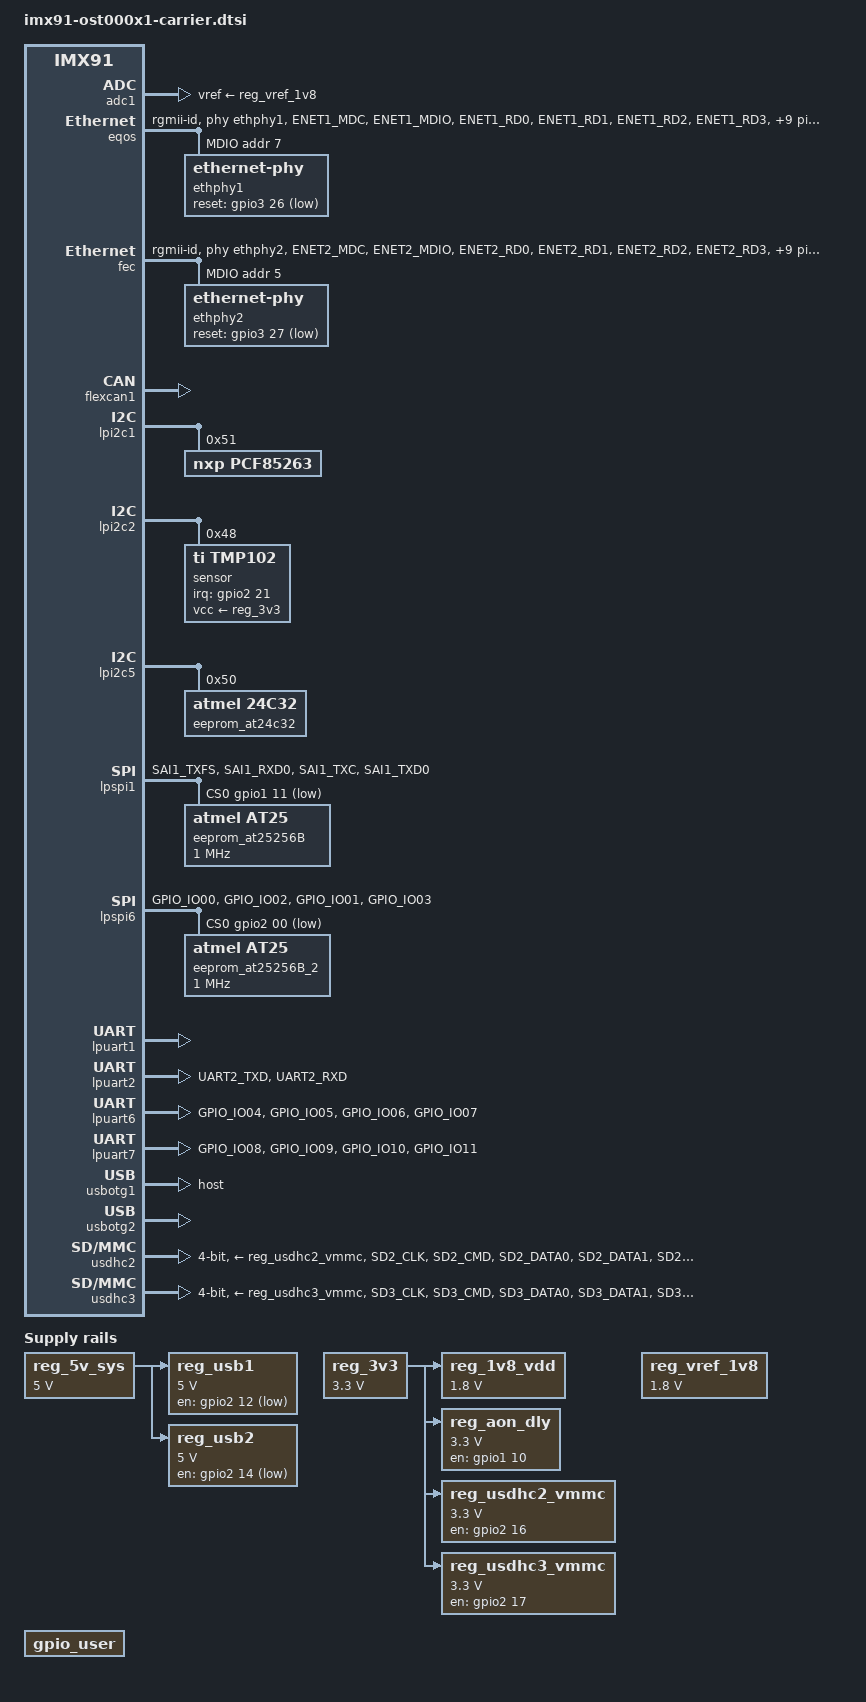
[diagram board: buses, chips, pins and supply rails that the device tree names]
/*
 * Copyright 2026 MASELETTRONICA
 */


#include <dt-bindings/leds/common.h>

/ {

	aliases {
		rtc0 = &bbnsm_rtc;
		rtc1 = &pcf85263;
	};

	// REGULATORS
	reg_5v_sys: regulator-5V-sys {
		// U3 system voltage 5V TPS54361 @3.5A
		compatible = "regulator-fixed";
		regulator-name = "VSYS_5V";
		regulator-min-microvolt = <5000000>;
		regulator-max-microvolt = <5000000>;
	};

	reg_3v3: regulator-3V3 {
		// U7 regulator for 3V3 TPS54361 @3.5A
		compatible = "regulator-fixed";
		regulator-name = "REG_3V3";
		regulator-min-microvolt = <3300000>;
		regulator-max-microvolt = <3300000>;

	};

	reg_1v8_vdd: regulator-1V8 {
		// U1 regulator for 1V8 AP7361E @1A
		compatible = "regulator-fixed";
		regulator-name = "REG_1V8";
		regulator-min-microvolt = <1800000>;
		regulator-max-microvolt = <1800000>;
		vin-supply = <&reg_3v3>;
	};

	reg_vref_1v8: regulator-adc-vref {
		compatible = "regulator-fixed";
		regulator-name = "vref_1v8";
		regulator-min-microvolt = <1800000>;
		regulator-max-microvolt = <1800000>;
	};

	reg_aon_dly: regulator-aon-dly {
		// U6 regulator for 1V8 or 3V3 dependig on mountig
		compatible = "regulator-fixed";
		pinctrl-names = "default";
		pinctrl-0 = <&pinctrl_reg_aon_dly>;
		regulator-name = "REG_AON_DLY";
		regulator-min-microvolt = <3300000>;
		regulator-max-microvolt = <3300000>;
		vin-supply = <&reg_3v3>;
		gpio = <&gpio1 10 GPIO_ACTIVE_HIGH>;
		off-on-delay-us = <12000>;
		enable-active-high;		
	};

	reg_usdhc2_vmmc: regulator-usdhc2  {
		// uSD2 pwr-enable
		compatible = "regulator-fixed";
		pinctrl-names = "default";
		pinctrl-0 = <&pinctrl_reg_usdhc2_vmmc>;
		regulator-name = "VSD2_3V3";
		regulator-min-microvolt = <3300000>;
		regulator-max-microvolt = <3300000>;
		vin-supply = <&reg_3v3>;
		gpio = <&gpio2 16 GPIO_ACTIVE_HIGH>;
		off-on-delay-us = <12000>;
		enable-active-high;		
	};

	reg_usdhc3_vmmc: regulator-usdhc3  {
		// uSD3 pwr-enable
		compatible = "regulator-fixed";
		pinctrl-names = "default";
		pinctrl-0 = <&pinctrl_reg_usdhc3_vmmc>;
		regulator-name = "VSD3_3V3";
		regulator-min-microvolt = <3300000>;
		regulator-max-microvolt = <3300000>;
		vin-supply = <&reg_3v3>;
		gpio = <&gpio2 17 GPIO_ACTIVE_HIGH>;
		off-on-delay-us = <12000>;
		enable-active-high;
		regulator-always-on;
	};

	reg_usb1: regulator-usb1 {
		// U23 regulator for USB1 AP22811AW5-7
		compatible = "regulator-fixed";
		pinctrl-names = "default";
		pinctrl-0 = <&pinctrl_reg_usb_vbus1>;
		regulator-name = "USB_VBUS1";
		regulator-min-microvolt = <5000000>;
		regulator-max-microvolt = <5000000>;
		vin-supply = <&reg_5v_sys>;
		gpio = <&gpio2 12 GPIO_ACTIVE_LOW>;
		off-on-delay-us = <12000>;
		enable-active-low;
	};

	reg_usb2: regulator-usb2 {
		// U24 regulator for USB2 AP22811AW5-7
		compatible = "regulator-fixed";
		pinctrl-names = "default";
		pinctrl-0 = <&pinctrl_reg_usb_vbus2>;
		regulator-name = "USB_VBUS2";
		regulator-min-microvolt = <5000000>;
		regulator-max-microvolt = <5000000>;
		vin-supply = <&reg_5v_sys>;
		gpio = <&gpio2 14 GPIO_ACTIVE_LOW>;
		off-on-delay-us = <12000>;
		enable-active-low;
	};

	gpio_user: gpio_user {
		// JTAG gpios tested as regulators 
		compatible = "regulator-fixed";
		pinctrl-names = "default";
		pinctrl-0 = <&pinctrl_gpio_user>;
		regulator-name = "BOARD_GPIO_CONFIG";
		status = "okay";
	};

};


//=============================================================================
//=== ADC
//=============================================================================
&adc1 {
	vref-supply = <&reg_vref_1v8>;
	status = "okay";
};

//=============================================================================
//=== EQOS
//=============================================================================
&eqos {
	pinctrl-names = "default", "sleep";
	pinctrl-0 = <&pinctrl_eqos>;
	pinctrl-1 = <&pinctrl_eqos_sleep>;
	phy-mode = "rgmii-id";
	phy-handle = <&ethphy1>;
	status = "okay";

	mdio {
		compatible = "snps,dwmac-mdio";
		#address-cells = <1>;
		#size-cells = <0>;
		clock-frequency = <5000000>;

		ethphy1: ethernet-phy@7 {
			reg = <7>;
			reset-gpios = <&gpio3 26 GPIO_ACTIVE_LOW>;
			reset-assert-us = <10000>;
			reset-deassert-us = <80000>;
		};
	};
};

//=============================================================================
//=== FEC
//=============================================================================
&fec {
	pinctrl-names = "default", "sleep";
	pinctrl-0 = <&pinctrl_fec>;
	pinctrl-1 = <&pinctrl_fec_sleep>;
	phy-mode = "rgmii-id";
	phy-handle = <&ethphy2>;
	fsl,magic-packet;
	status = "okay";

	mdio {
		#address-cells = <1>;
		#size-cells = <0>;
		clock-frequency = <5000000>;

		ethphy2: ethernet-phy@5 {
			reg = <5>;
			reset-gpios = <&gpio3 27 GPIO_ACTIVE_LOW>;
			reset-assert-us = <10000>;
			reset-deassert-us = <80000>;
		};
	};
};

//=============================================================================
//=== CAN1
//=============================================================================
&flexcan1 {
	status = "okay";
};

//=============================================================================
//=== I2C1
//=============================================================================
&lpi2c1 {
	status = "okay";
	
	pcf85263: rtc@51 {
		compatible = "nxp,pcf85263";
		reg = <0x51>;
	};	
};	

//=============================================================================
//=== I2C2
//=============================================================================
&lpi2c2 {
	status = "okay";

	sensor@48 {
		compatible = "ti,tmp102";
		reg = <0x48>;
		interrupt-parent = <&gpio2>;
		interrupts = <21 IRQ_TYPE_LEVEL_LOW>;
		vcc-supply = <&reg_3v3>;
		#thermal-sensor-cells = <1>;
	};

};

//=============================================================================
//=== I2C5
//=============================================================================
&lpi2c5 {
	status = "okay";
	
	eeprom_at24c32: eeprom@50 {
		compatible = "atmel,24c32";
		reg = <0x50>;
		pagesize = <32>;
		num-addresses = <8>;
	};
};	

//=============================================================================
//=== SPI1
//=============================================================================
&lpspi1 {
	#address-cells = <1>;
	#size-cells = <0>;
	fsl,spi-num-chipselects = <1>;
	pinctrl-names = "default", "sleep";
	pinctrl-0 = <&pinctrl_lpspi1>;
	pinctrl-1 = <&pinctrl_lpspi1>;
	cs-gpios = <&gpio1 11 GPIO_ACTIVE_LOW>;
	status = "okay";
	
	eeprom_at25256B: eeprom@0 {
		compatible = "atmel,at25";
		spi-max-frequency = <1000000>;
		size = <0x8000>;
		pagesize = <64>;
		reg = <0>;
		address-width = <16>;	
	};
};

//=============================================================================
//=== SPI6
//=============================================================================
&lpspi6 {
	#address-cells = <1>;
	#size-cells = <0>;
	fsl,spi-num-chipselects = <1>;
	pinctrl-names = "default", "sleep";
	pinctrl-0 = <&pinctrl_lpspi6>;
	pinctrl-1 = <&pinctrl_lpspi6>;
	cs-gpios = <&gpio2 00 GPIO_ACTIVE_LOW>;
	status = "okay";
	
	eeprom_at25256B_2: eeprom@0 {
		compatible = "atmel,at25";
		spi-max-frequency = <1000000>;
		size = <0x8000>;
		pagesize = <64>;
		reg = <0>;
		address-width = <16>;
	};	
		
};

//=============================================================================
//=== UART1 console
//=============================================================================
&lpuart1 { /* console */
	status = "okay";
};

//=============================================================================
//=== UART2
//=============================================================================
&lpuart2 {
	pinctrl-names = "default";
	pinctrl-0 = <&pinctrl_uart2>;
	status = "okay";
};

//=============================================================================
//=== UART6 RS232
//=============================================================================
&lpuart6 {
	pinctrl-names = "default";
	pinctrl-0 = <&pinctrl_uart6>;
	uart-has-rtscts;
	status = "okay";
};

//=============================================================================
//=== UART7 RS232
//=============================================================================
&lpuart7 {
	pinctrl-names = "default";
	pinctrl-0 = <&pinctrl_uart7>;
	uart-has-rtscts;
	status = "okay";
};

//=============================================================================
//=== USB2 otg
//=============================================================================
&usbotg1 {
	dr_mode = "host";
	/delete-property/ hnp-disable;
	/delete-property/ srp-disable;
	/delete-property/ adp-disable;
	/delete-property/ usb-role-switch;
	status = "okay";
};

//=============================================================================
//=== USB2 host
//=============================================================================
&usbotg2 {
	status = "okay";
};

//=============================================================================
//=== USDHC2 usd
//=============================================================================
&usdhc2 {
 	pinctrl-names = "default";
	pinctrl-0 = <&pinctrl_usdhc2>, <&pinctrl_usdhc2_gpio>;
	cd-gpios = <&gpio3 00 GPIO_ACTIVE_LOW>;
	fsl,cd-gpio-wakeup-disable;
	vmmc-supply = <&reg_usdhc2_vmmc>;
	bus-width = <4>;
	no-mmc;
	status = "okay";
};

//=============================================================================
//=== USDHC3 usd
//=============================================================================
&usdhc3 {
	pinctrl-names = "default";
	pinctrl-0 = <&pinctrl_usdhc3>, <&pinctrl_usdhc3_gpio>;
	cd-gpios = <&gpio2 20 GPIO_ACTIVE_LOW>;
	vmmc-supply = <&reg_usdhc3_vmmc>;
	bus-width = <4>;
	no-sdio;
	no-mmc;
	status = "okay";
};

//=============================================================================
//=== TPM4
//=============================================================================
&tpm4 {
	status = "disabled";
};

//=============================================================================
//=== TPM5
//=============================================================================
&tpm5 {
	status = "disabled";
};




//=============================================================================
//#############################################################################
//=== PINMUX
//#############################################################################
//=============================================================================
&iomuxc {

	pinctrl_reg_aon_dly: regaondlygrp {
		fsl,pins = <
			MX91_PAD_PDM_BIT_STREAM1__GPIO1_IO10						0x51e
		>;
	};

	pinctrl_reg_usdhc2_vmmc: regusdhc2vmmcgrp {
		fsl,pins = <
			MX91_PAD_GPIO_IO16__GPIO2_IO16								0x31e
		>;
	};

	pinctrl_reg_usdhc3_vmmc: regusdhc3vmmcgrp {
		fsl,pins = <
			MX91_PAD_GPIO_IO17__GPIO2_IO17								0x31e
		>;
	};
	
	pinctrl_gpio_user: gpiousrgrp {
		fsl,pins = <
			MX91_PAD_DAP_TDI__GPIO3_IO28								0x51e
			MX91_PAD_DAP_TMS_SWDIO__GPIO3_IO29							0x51e
			MX91_PAD_DAP_TCLK_SWCLK__GPIO3_IO30							0x51e
			MX91_PAD_DAP_TDO_TRACESWO__GPIO3_IO31						0x51e
		>;
	};

	pinctrl_uart2: uart2grp {
		fsl,pins = <
			MX91_PAD_UART2_TXD__LPUART2_TX								0x31e
			MX91_PAD_UART2_RXD__LPUART2_RX								0x31e
		>;
	};

	pinctrl_uart3: uart3grp {
		fsl,pins = <
		    MX91_PAD_GPIO_IO14__LPUART3_TX								0x31e
            MX91_PAD_GPIO_IO15__LPUART3_RX								0x31e
            MX91_PAD_GPIO_IO16__LPUART3_CTS_B							0x31e
            MX91_PAD_GPIO_IO17__LPUART3_RTS_B							0x31e
		>;
	};

	pinctrl_uart6: uart6grp {
		fsl,pins = <
		    MX91_PAD_GPIO_IO04__LPUART6_TX								0x31e
            MX91_PAD_GPIO_IO05__LPUART6_RX								0x31e
            MX91_PAD_GPIO_IO06__LPUART6_CTS_B							0x31e
            MX91_PAD_GPIO_IO07__LPUART6_RTS_B							0x31e
		>;
	};

	pinctrl_uart7: uart7grp {
		fsl,pins = <
		    MX91_PAD_GPIO_IO08__LPUART7_TX								0x31e
            MX91_PAD_GPIO_IO09__LPUART7_RX								0x31e
            MX91_PAD_GPIO_IO10__LPUART7_CTS_B							0x31e
            MX91_PAD_GPIO_IO11__LPUART7_RTS_B							0x31e
		>;
	};

	pinctrl_lpspi1: lpspi1grp {
		fsl,pins = <
			MX91_PAD_SAI1_TXFS__GPIO1_IO11								0x3fe
			MX91_PAD_SAI1_RXD0__LPSPI1_SOUT            					0x3fe
			MX91_PAD_SAI1_TXC__LPSPI1_SIN              					0x3fe
			MX91_PAD_SAI1_TXD0__LPSPI1_SCK             					0x3fe
		>;
	};

	pinctrl_lpspi6: lpspi6grp {
		fsl,pins = <
			MX91_PAD_GPIO_IO00__GPIO2_IO0								0x3fe
			MX91_PAD_GPIO_IO02__LPSPI6_SOUT            					0x3fe
			MX91_PAD_GPIO_IO01__LPSPI6_SIN              				0x3fe
			MX91_PAD_GPIO_IO03__LPSPI6_SCK             					0x3fe
		>;
	};

	pinctrl_reg_usb_vbus1: regusbvbus1grp {
		fsl,pins = <
			MX91_PAD_GPIO_IO12__GPIO2_IO12								0x31e
		>;
	};

	pinctrl_reg_usb_vbus2: regusbvbus2grp {
		fsl,pins = <
			MX91_PAD_GPIO_IO14__GPIO2_IO14								0x31e
		>;
	};

	pinctrl_eqos: eqosgrp {
		fsl,pins = <	
			MX91_PAD_ENET1_MDC__ENET1_MDC								0x57e
			MX91_PAD_ENET1_MDIO__ENET_QOS_MDIO							0x57e
			MX91_PAD_ENET1_RD0__ENET_QOS_RGMII_RD0						0x57e
			MX91_PAD_ENET1_RD1__ENET_QOS_RGMII_RD1						0x57e
			MX91_PAD_ENET1_RD2__ENET_QOS_RGMII_RD2						0x57e
			MX91_PAD_ENET1_RD3__ENET_QOS_RGMII_RD3						0x57e
			MX91_PAD_ENET1_RXC__ENET_QOS_RGMII_RXC						0x5fe
			MX91_PAD_ENET1_RX_CTL__ENET_QOS_RGMII_RX_CTL				0x57e
			MX91_PAD_ENET1_TD0__ENET_QOS_RGMII_TD0						0x57e
			MX91_PAD_ENET1_TD1__ENET1_RGMII_TD1							0x57e
			MX91_PAD_ENET1_TD2__ENET_QOS_RGMII_TD2						0x57e
			MX91_PAD_ENET1_TD3__ENET_QOS_RGMII_TD3						0x57e
			MX91_PAD_ENET1_TXC__CCM_ENET_QOS_CLOCK_GENERATE_TX_CLK		0x5fe
			MX91_PAD_ENET1_TX_CTL__ENET_QOS_RGMII_TX_CTL				0x57e
			MX91_PAD_CCM_CLKO1__GPIO3_IO26								0x91e
		>;
	};

	pinctrl_eqos_sleep: eqosgrpsleep {
		fsl,pins = <
			MX91_PAD_ENET1_MDC__GPIO4_IO0								0x31e
			MX91_PAD_ENET1_MDIO__GPIO4_IO1								0x31e
			MX91_PAD_ENET1_RD0__GPIO4_IO10                          	0x31e
			MX91_PAD_ENET1_RD1__GPIO4_IO11								0x31e
			MX91_PAD_ENET1_RD2__GPIO4_IO12								0x31e
			MX91_PAD_ENET1_RD3__GPIO4_IO13								0x31e
			MX91_PAD_ENET1_RXC__GPIO4_IO9                          		0x31e
			MX91_PAD_ENET1_RX_CTL__GPIO4_IO8							0x31e
			MX91_PAD_ENET1_TD0__GPIO4_IO5                          		0x31e
			MX91_PAD_ENET1_TD1__GPIO4_IO4                          		0x31e
			MX91_PAD_ENET1_TD2__GPIO4_IO3								0x31e
			MX91_PAD_ENET1_TD3__GPIO4_IO2								0x31e
			MX91_PAD_ENET1_TXC__GPIO4_IO7                          		0x31e
			MX91_PAD_ENET1_TX_CTL__GPIO4_IO6                       		0x31e
			MX91_PAD_CCM_CLKO1__GPIO3_IO26								0x91e
		>;
	};

	pinctrl_fec: fecgrp {
		fsl,pins = <
			MX91_PAD_ENET2_MDC__ENET2_MDC								0x57e
			MX91_PAD_ENET2_MDIO__ENET2_MDIO								0x57e
			MX91_PAD_ENET2_RD0__ENET2_RGMII_RD0							0x57e
			MX91_PAD_ENET2_RD1__ENET2_RGMII_RD1							0x57e
			MX91_PAD_ENET2_RD2__ENET2_RGMII_RD2							0x57e
			MX91_PAD_ENET2_RD3__ENET2_RGMII_RD3							0x57e
			MX91_PAD_ENET2_RXC__ENET2_RGMII_RXC							0x5fe
			MX91_PAD_ENET2_RX_CTL__ENET2_RGMII_RX_CTL					0x57e
			MX91_PAD_ENET2_TD0__ENET2_RGMII_TD0							0x57e
			MX91_PAD_ENET2_TD1__ENET2_RGMII_TD1							0x57e
			MX91_PAD_ENET2_TD2__ENET2_RGMII_TD2							0x57e
			MX91_PAD_ENET2_TD3__ENET2_RGMII_TD3							0x57e
			MX91_PAD_ENET2_TXC__ENET2_RGMII_TXC							0x5fe
			MX91_PAD_ENET2_TX_CTL__ENET2_RGMII_TX_CTL					0x57e
			MX91_PAD_CCM_CLKO2__GPIO3_IO27								0x91e
		>;
	};

	pinctrl_fec_sleep: fecsleepgrp {
		fsl,pins = <
			MX91_PAD_ENET2_MDC__GPIO4_IO14								0x51e
			MX91_PAD_ENET2_MDIO__GPIO4_IO15								0x51e
			MX91_PAD_ENET2_RD0__GPIO4_IO24								0x51e
			MX91_PAD_ENET2_RD1__GPIO4_IO25								0x51e
			MX91_PAD_ENET2_RD2__GPIO4_IO26								0x51e
			MX91_PAD_ENET2_RD3__GPIO4_IO27								0x51e
			MX91_PAD_ENET2_RXC__GPIO4_IO23                  			0x51e
			MX91_PAD_ENET2_RX_CTL__GPIO4_IO22							0x51e
			MX91_PAD_ENET2_TD0__GPIO4_IO19								0x51e
			MX91_PAD_ENET2_TD1__GPIO4_IO18								0x51e
			MX91_PAD_ENET2_TD2__GPIO4_IO17								0x51e
			MX91_PAD_ENET2_TD3__GPIO4_IO16								0x51e
			MX91_PAD_ENET2_TXC__GPIO4_IO21                  			0x51e
			MX91_PAD_ENET2_TX_CTL__GPIO4_IO20               			0x51e
			MX91_PAD_CCM_CLKO2__GPIO3_IO27								0x91e
		>;
	};

	pinctrl_usdhc2_gpio: usdhc2gpiogrp {
		fsl,pins = <
			MX91_PAD_SD2_CD_B__GPIO3_IO0								0x31e
		>;
	};

	pinctrl_usdhc2_gpio_sleep: usdhc2gpiogrpsleep {
		fsl,pins = <
			MX91_PAD_SD2_CD_B__GPIO3_IO0								0x51e
		>;
	};

	pinctrl_usdhc3_gpio: usdhc3gpiogrp {
		fsl,pins = <
			MX91_PAD_GPIO_IO20__GPIO2_IO20								0x31e
		>;
	};

	pinctrl_usdhc3_gpio_sleep: usdhc3gpiogrpsleep {
		fsl,pins = <
			MX91_PAD_GPIO_IO20__GPIO2_IO20								0x51e
		>;
	};

	pinctrl_usdhc2: usdhc2grp {
		fsl,pins = <
			MX91_PAD_SD2_CLK__USDHC2_CLK								0x1506
			MX91_PAD_SD2_CMD__USDHC2_CMD								0x1306
			MX91_PAD_SD2_DATA0__USDHC2_DATA0							0x1306
			MX91_PAD_SD2_DATA1__USDHC2_DATA1							0x1306
			MX91_PAD_SD2_DATA2__USDHC2_DATA2							0x1306
			MX91_PAD_SD2_DATA3__USDHC2_DATA3							0x1306
			MX91_PAD_SD2_VSELECT__USDHC2_VSELECT						0x51e	
		>;
	};

	pinctrl_usdhc2_100mhz: usdhc2-100mhzgrp {
		fsl,pins = <
			MX91_PAD_SD2_CLK__USDHC2_CLK								0x158e
			MX91_PAD_SD2_CMD__USDHC2_CMD								0x138e
			MX91_PAD_SD2_DATA0__USDHC2_DATA0							0x138e
			MX91_PAD_SD2_DATA1__USDHC2_DATA1							0x138e
			MX91_PAD_SD2_DATA2__USDHC2_DATA2							0x138e
			MX91_PAD_SD2_DATA3__USDHC2_DATA3							0x138e
			MX91_PAD_SD2_VSELECT__USDHC2_VSELECT						0x51e
		>;
	};

	pinctrl_usdhc2_200mhz: usdhc2-200mhzgrp {
		fsl,pins = <
			MX91_PAD_SD2_CLK__USDHC2_CLK								0x15fe
			MX91_PAD_SD2_CMD__USDHC2_CMD								0x13fe
			MX91_PAD_SD2_DATA0__USDHC2_DATA0							0x13fe
			MX91_PAD_SD2_DATA1__USDHC2_DATA1							0x13fe
			MX91_PAD_SD2_DATA2__USDHC2_DATA2							0x13fe
			MX91_PAD_SD2_DATA3__USDHC2_DATA3							0x13fe
			MX91_PAD_SD2_VSELECT__USDHC2_VSELECT						0x51e
		>;
	};

	pinctrl_usdhc2_sleep: usdhc2grpsleep {
		fsl,pins = <
			MX91_PAD_SD2_CLK__GPIO3_IO1            						0x51e
			MX91_PAD_SD2_CMD__GPIO3_IO2									0x51e
			MX91_PAD_SD2_DATA0__GPIO3_IO3								0x51e
			MX91_PAD_SD2_DATA1__GPIO3_IO4								0x51e
			MX91_PAD_SD2_DATA2__GPIO3_IO5								0x51e
			MX91_PAD_SD2_DATA3__GPIO3_IO6								0x51e
			MX91_PAD_SD2_VSELECT__GPIO3_IO19							0x51e
		>;
	};

	pinctrl_usdhc3: usdhc3grp {
		fsl,pins = <
			MX91_PAD_SD3_CLK__USDHC3_CLK								0x1506
			MX91_PAD_SD3_CMD__USDHC3_CMD								0x1106
			MX91_PAD_SD3_DATA0__USDHC3_DATA0							0x1106
			MX91_PAD_SD3_DATA1__USDHC3_DATA1							0x1106
			MX91_PAD_SD3_DATA2__USDHC3_DATA2							0x1106
			MX91_PAD_SD3_DATA3__USDHC3_DATA3							0x1106
		>;
	};
	

	pinctrl_usdhc3_100mhz: usdhc3-100mhzgrp {
		fsl,pins = <
			MX91_PAD_SD3_CLK__USDHC3_CLK								0x158e
			MX91_PAD_SD3_CMD__USDHC3_CMD								0x138e
			MX91_PAD_SD3_DATA0__USDHC3_DATA0							0x138e
			MX91_PAD_SD3_DATA1__USDHC3_DATA1							0x138e
			MX91_PAD_SD3_DATA2__USDHC3_DATA2							0x138e
			MX91_PAD_SD3_DATA3__USDHC3_DATA3							0x138e
		>;
	};

	pinctrl_usdhc3_200mhz: usdhc3-200mhzgrp {
		fsl,pins = <
			MX91_PAD_SD3_CLK__USDHC3_CLK								0x15fe
			MX91_PAD_SD3_CMD__USDHC3_CMD								0x13fe
			MX91_PAD_SD3_DATA0__USDHC3_DATA0							0x13fe
			MX91_PAD_SD3_DATA1__USDHC3_DATA1							0x13fe
			MX91_PAD_SD3_DATA2__USDHC3_DATA2							0x13fe
			MX91_PAD_SD3_DATA3__USDHC3_DATA3							0x13fe
		>;
	};	

	pinctrl_usdhc3_sleep: usdhc3grpsleep {
		fsl,pins = <
			MX91_PAD_SD3_CLK__GPIO3_IO20								0x31e
			MX91_PAD_SD3_CMD__GPIO3_IO21								0x31e
			MX91_PAD_SD3_DATA0__GPIO3_IO22								0x31e
			MX91_PAD_SD3_DATA1__GPIO3_IO23								0x31e
			MX91_PAD_SD3_DATA2__GPIO3_IO24								0x31e
			MX91_PAD_SD3_DATA3__GPIO3_IO25								0x31e
		>;
	};

};
